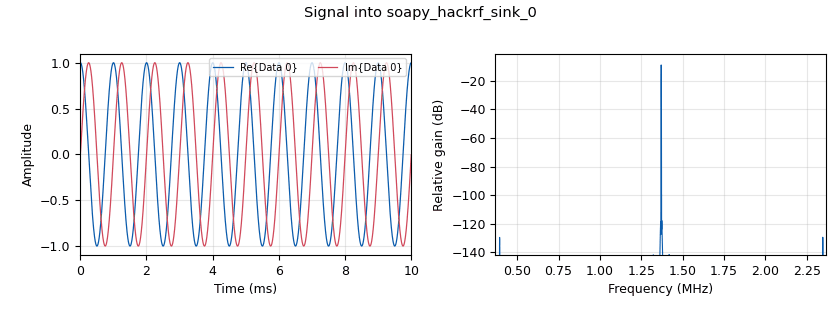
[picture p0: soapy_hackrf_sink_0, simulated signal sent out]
options:
  parameters:
    author: findm
    generate_options: qt_gui
    id: default
    output_language: python
    title: Not titled yet
  states: {}

blocks:
- name: samp_rate
  id: variable
  parameters:
    value: '2000000'
  states: {}
- name: analog_sig_source_x_0
  id: analog_sig_source_x
  parameters:
    amp: '1'
    freq: '1000'
    offset: '0'
    phase: '0'
    samp_rate: samp_rate
    type: complex
    waveform: analog.GR_COS_WAVE
  states: {}
- name: soapy_hackrf_sink_0
  id: soapy_hackrf_sink
  parameters:
    amp: 'True'
    center_freq: '1369000'
    samp_rate: samp_rate
    type: fc32
  states: {}

connections:
- [analog_sig_source_x_0, '0', soapy_hackrf_sink_0, '0']

metadata:
  file_format: 1
  grc_version: 3.10.4.0
